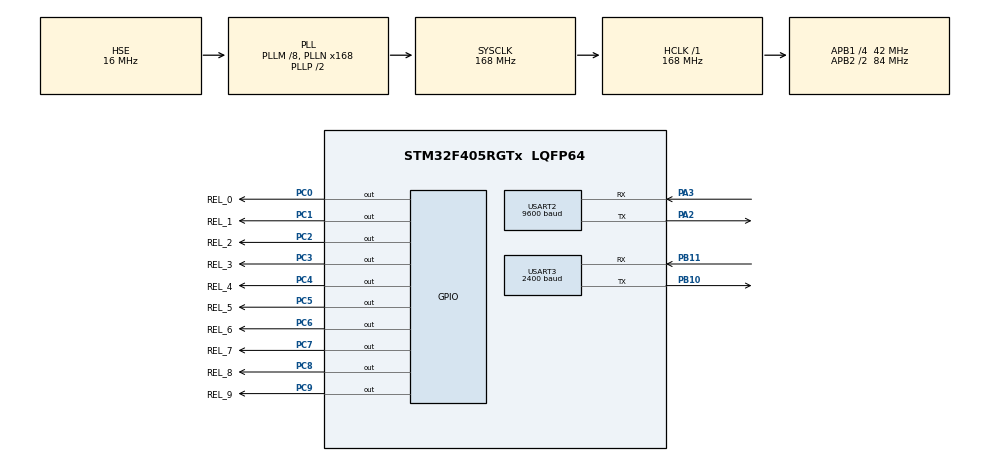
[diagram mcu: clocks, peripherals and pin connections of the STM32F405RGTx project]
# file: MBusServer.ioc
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Mcu.Family=STM32F4
Mcu.Name=STM32F405RGTx
Mcu.Package=LQFP64
NVIC.PriorityGroup=NVIC_PRIORITYGROUP_4
NVIC.TIM8_TRG_COM_TIM14_IRQn=true\:0\:0\:false\:false\:true\:true\:true
NVIC.USART2_IRQn=true\:0\:0\:false\:false\:true\:true\:true
NVIC.USART3_IRQn=true\:0\:0\:false\:false\:true\:true\:true
PA13.Mode=Serial_Wire
PA13.Signal=SYS_JTMS-SWDIO
PA14.Mode=Serial_Wire
PA14.Signal=SYS_JTCK-SWCLK
PA2.Mode=Asynchronous
PA2.Signal=USART2_TX
PA3.Mode=Asynchronous
PA3.Signal=USART2_RX
PB10.Mode=Asynchronous
PB10.Signal=USART3_TX
PB11.Mode=Asynchronous
PB11.Signal=USART3_RX
PC0.GPIO_Label=REL_0
PC0.Signal=GPIO_Output
PC1.GPIO_Label=REL_1
PC1.Signal=GPIO_Output
PC2.GPIO_Label=REL_2
PC2.Signal=GPIO_Output
PC3.GPIO_Label=REL_3
PC3.Signal=GPIO_Output
PC4.GPIO_Label=REL_4
PC4.Signal=GPIO_Output
PC5.GPIO_Label=REL_5
PC5.Signal=GPIO_Output
PC6.GPIO_Label=REL_6
PC6.Signal=GPIO_Output
PC7.GPIO_Label=REL_7
PC7.Signal=GPIO_Output
PC8.GPIO_Label=REL_8
PC8.Signal=GPIO_Output
PC9.GPIO_Label=REL_9
PC9.Signal=GPIO_Output
PH0-OSC_IN.Mode=HSE-External-Oscillator
PH0-OSC_IN.Signal=RCC_OSC_IN
PH1-OSC_OUT.Mode=HSE-External-Oscillator
PH1-OSC_OUT.Signal=RCC_OSC_OUT
ProjectManager.HeapSize=0x200
ProjectManager.StackSize=0x400
ProjectManager.TargetToolchain=Other Toolchains (GPDSC)
RCC.48MHZClocksFreq_Value=84000000
RCC.AHBFreq_Value=168000000
RCC.APB1CLKDivider=RCC_HCLK_DIV4
RCC.APB1Freq_Value=42000000
RCC.APB1TimFreq_Value=84000000
RCC.APB2CLKDivider=RCC_HCLK_DIV2
RCC.APB2Freq_Value=84000000
RCC.APB2TimFreq_Value=168000000
RCC.CortexFreq_Value=168000000
RCC.HCLKFreq_Value=168000000
RCC.HSE_VALUE=16000000
RCC.HSI_VALUE=16000000
RCC.LSE_VALUE=32768
RCC.PLLM=8
RCC.PLLN=168
RCC.PLLSourceVirtual=RCC_PLLSOURCE_HSE
RCC.SYSCLKFreq_VALUE=168000000
RCC.SYSCLKSource=RCC_SYSCLKSOURCE_PLLCLK
RCC.VCOOutputFreq_Value=336000000
TIM14.Period=10000
TIM14.Prescaler=16800
USART2.BaudRate=9600
USART2.VirtualMode=VM_ASYNC
USART3.BaudRate=2400
USART3.VirtualMode=VM_ASYNC
VP_TIM14_VS_ClockSourceINT.Mode=Enable_Timer
board=custom

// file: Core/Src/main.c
/* USER CODE BEGIN Header */
/**
  ******************************************************************************
  * @file           : main.c
  * @brief          : Main program body
  ******************************************************************************
  * @attention
  *
  * <h2><center>&copy; Copyright (c) 2022 STMicroelectronics.
  * All rights reserved.</center></h2>
  *
  * This software component is licensed by ST under BSD 3-Clause license,
  * the "License"; You may not use this file except in compliance with the
  * License. You may obtain a copy of the License at:
  *                        opensource.org/licenses/BSD-3-Clause
  *
  ******************************************************************************
  */
/* USER CODE END Header */
#include "main.h"
#include "tim.h"
#include "usart.h"
#include "gpio.h"

/* USER CODE BEGIN PV */
uint8_t huart2Rx;
uint8_t huart3Rx;

uint8_t LT_RxList[20];
uint32_t LT_RxIndex;
uint32_t bLTRx;

uint8_t M_RxList[20];
uint8_t M_TxList[10];
uint32_t M_RxIndex;
uint32_t bMRx;

uint8_t MBusAddr;
/* USER CODE END PV */

void SystemClock_Config(void);

/* USER CODE BEGIN 0 */
uint32_t MBusLock(void)
{
	uint8_t sum = 0,i;
	uint8_t rel;
	M_TxList[0]=0x16;
	M_TxList[1]=MBusAddr;
	M_TxList[2]=0x01;
	M_TxList[3]=00;
	sum = (uint8_t)(sum + 0x16);
	sum = (uint8_t)(sum + MBusAddr);
	sum = (uint8_t)(sum + 0x01);
	sum = (uint8_t)(sum + 0x00);
	M_TxList[4]=sum;
	M_TxList[5]=0x0d;
	rel = MBusAddr / 20;
	GPIOC->BSRR = 0xff00;
	GPIOC->BSRR = rel;
	HAL_Delay(100);
	HAL_UART_Transmit(&huart3, M_TxList, 6, 100);//需要25ms
	//HAL_TIM_Base_Start_IT(&htim14);
	if (HAL_UART_Receive(&huart3, M_RxList, 6, 500) == HAL_OK)
	{
		if(M_RxList[0]!=0x16)
			return HAL_ERROR;
		if (M_RxList[1] != MBusAddr)
			return HAL_ERROR;
		if (M_RxList[2] != 0x01)
			return HAL_ERROR;
		if (M_RxList[3] != 0x01)
			return HAL_ERROR;
		sum = 0;
		for (i = 0; i < 4; i++)
		{
			sum += M_RxList[i];
		}
		if (M_RxList[4] != sum)
			return HAL_ERROR;
		if (M_RxList[5] != 0x0d)
			return HAL_ERROR;
		return HAL_OK;
	}
	else
	{
		return HAL_ERROR;
	}
}

/* USER CODE END 0 */

int main(void)
{
  /* USER CODE BEGIN 1 */
	float k, b, a,fx;
	k = 0.04578;
	b = -93.75;
	a = 10;
	uint32_t AD = 1910;
	uint16_t ret;
	fx = k*AD + b;
	fx = fx*a;
	ret = (uint16_t)ret;
	return 0;
  /* USER CODE END 1 */

  /* MCU Configuration--------------------------------------------------------*/

  /* Reset of all peripherals, Initializes the Flash interface and the Systick. */
  HAL_Init();

  /* Configure the system clock */
  SystemClock_Config();

  /* Initialize all configured peripherals */
  MX_GPIO_Init();
  MX_USART2_UART_Init();
  MX_USART3_UART_Init();
  MX_TIM14_Init();
  /* USER CODE BEGIN 2 */
  while (HAL_UART_Receive_IT(&huart2, &huart2Rx, 1) == HAL_OK);
  //while (HAL_UART_Receive_IT(&huart3, &huart3Rx, 1) == HAL_OK);
  /* USER CODE END 2 */

  /* Infinite loop */
  while (1)
  {

    /* USER CODE BEGIN 3 */
	  if (bLTRx)
	  {
		  switch (LT_RxList[2])
		  {
		  case 1:
			  MBusAddr = (LT_RxList[6] - '0') * 100 + (LT_RxList[7] - '0') * 10 + (LT_RxList[8] - '0') * 1;
			  if (MBusLock() == HAL_OK)
				  HAL_UART_Transmit(&huart2, LT_RxList, LT_RxIndex, 500);
			  else
			  {
				  LT_RxList[5] = '1';
				  HAL_UART_Transmit(&huart2, LT_RxList, LT_RxIndex, 500);
			  }
			  break;
		  default:
			  break;
		  }
	  }
	  if (huart2.RxState != HAL_UART_STATE_BUSY_RX)
	  {
		  while (HAL_UART_Receive_IT(&huart2, &huart2Rx, 1) == HAL_OK);
	  }
// 	  if (huart3.RxState != HAL_UART_STATE_BUSY_RX)
// 	  {
// 		  while (HAL_UART_Receive_IT(&huart3, &huart3Rx, 1) == HAL_OK);
// 	  }
  }
  /* USER CODE END 3 */
}

void SystemClock_Config(void)
{
  RCC_OscInitTypeDef RCC_OscInitStruct = {0};
  RCC_ClkInitTypeDef RCC_ClkInitStruct = {0};

  /** Configure the main internal regulator output voltage
  */
  __HAL_RCC_PWR_CLK_ENABLE();
  __HAL_PWR_VOLTAGESCALING_CONFIG(PWR_REGULATOR_VOLTAGE_SCALE1);
  /** Initializes the RCC Oscillators according to the specified parameters
  * in the RCC_OscInitTypeDef structure.
  */
  RCC_OscInitStruct.OscillatorType = RCC_OSCILLATORTYPE_HSE;
  RCC_OscInitStruct.HSEState = RCC_HSE_ON;
  RCC_OscInitStruct.PLL.PLLState = RCC_PLL_ON;
  RCC_OscInitStruct.PLL.PLLSource = RCC_PLLSOURCE_HSE;
  RCC_OscInitStruct.PLL.PLLM = 8;
  RCC_OscInitStruct.PLL.PLLN = 168;
  RCC_OscInitStruct.PLL.PLLP = RCC_PLLP_DIV2;
  RCC_OscInitStruct.PLL.PLLQ = 4;
  if (HAL_RCC_OscConfig(&RCC_OscInitStruct) != HAL_OK)
  {
    Error_Handler();
  }
  /** Initializes the CPU, AHB and APB buses clocks
  */
  RCC_ClkInitStruct.ClockType = RCC_CLOCKTYPE_HCLK|RCC_CLOCKTYPE_SYSCLK
                              |RCC_CLOCKTYPE_PCLK1|RCC_CLOCKTYPE_PCLK2;
  RCC_ClkInitStruct.SYSCLKSource = RCC_SYSCLKSOURCE_PLLCLK;
  RCC_ClkInitStruct.AHBCLKDivider = RCC_SYSCLK_DIV1;
  RCC_ClkInitStruct.APB1CLKDivider = RCC_HCLK_DIV4;
  RCC_ClkInitStruct.APB2CLKDivider = RCC_HCLK_DIV2;

  if (HAL_RCC_ClockConfig(&RCC_ClkInitStruct, FLASH_LATENCY_5) != HAL_OK)
  {
    Error_Handler();
  }
}

void Error_Handler(void)
{
  __disable_irq();
  while (1)
  {
  }
}

/************************ (C) COPYRIGHT STMicroelectronics *****END OF FILE****/
